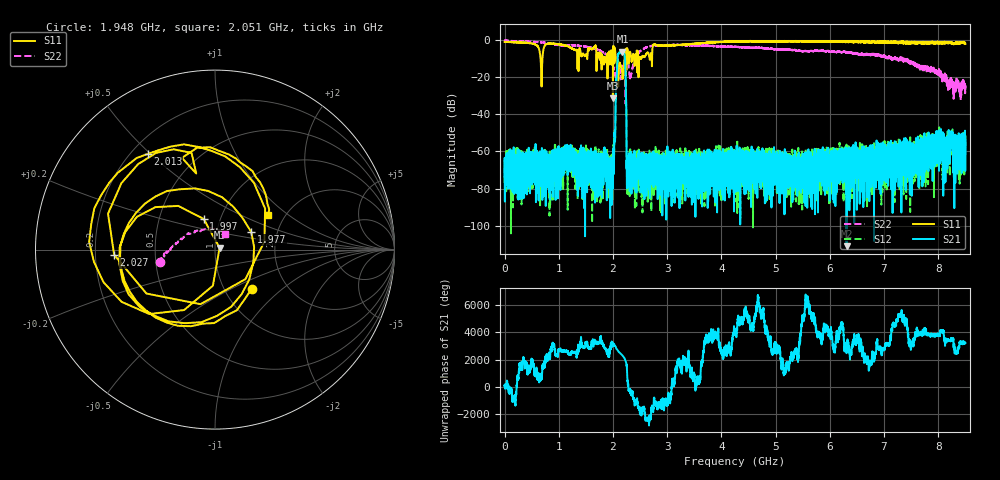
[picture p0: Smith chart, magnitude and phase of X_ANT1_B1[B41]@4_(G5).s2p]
#  HZ  S  RI  R  50.00
! Rohde & Schwarz Vector Network Analyzer
! Rohde-Schwarz,ZNBT8-20Port,1318700624101681,3.50
! Created: UTC 7/15/2025, 2:11:47 PM
! freq[Hz]  re:S1010  im:S1010  re:S0410  im:S0410  re:S1004  im:S1004  re:S44  im:S44
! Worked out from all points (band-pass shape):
!   8500 points, 1 MHz to 8.5 GHz, reference 50 ohm
!   highest |S21| = -6.11 dB at 2.175 GHz (marker M1); lowest = -111.1 dB at 6.308 GHz (marker M2)
!   |S21| within 3 dB of the highest: 2.086 GHz to 2.219 GHz (133 MHz wide, 6.18 % of centre)
!   lowest |S11| = -31.2 dB at 1.998 GHz (marker M3), VSWR 1.06, Z = 52.6 + j1.05 ohm
!   |S11| at or under -10 dB: 663.9 MHz to 698.6 MHz (34.69 MHz wide, 5.09 % of centre); 2.06 GHz to 2.214 GHz (154.1 MHz wide, 7.21 % of centre); 2.389 GHz to 2.408 GHz (19.02 MHz wide, 0.793 % of centre)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
!   |S22| runs from -34.3 to -0.1 dB; largest |S21 - S12| = 0.017
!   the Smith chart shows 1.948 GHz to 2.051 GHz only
!   S11 on the Smith chart (normalised r, x): 1.948 GHz: 1.34, -0.64; 1.977 GHz: 1.47, +0.30; 1.997 GHz: 0.83, +0.29; 2.013 GHz: 0.26, +0.49; 2.027 GHz: 0.28, -0.02; 2.051 GHz: 1.65, +0.72
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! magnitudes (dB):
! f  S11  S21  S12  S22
! 1 MHz  -0.9  -73.6  -77.0  -0.3
! 163 MHz  -1.1  -62.2  -67.0  -0.4
! 676 MHz  -17.9  -67.4  -68.3  -1.1
! 807 MHz  -1.8  -65.0  -66.2  -1.5
! 1.418 GHz  -8.4  -60.8  -70.0  -3.2
! 1.948 GHz  -10.5  -95.9  -72.6  -10.1
! 1.977 GHz  -13.0  -88.9  -61.6  -11.9
! 1.997 GHz  -14.8  -72.8  -69.4  -13.5
! 1.998 GHz  -31.2  -72.2  -71.9  -13.5
! 2.013 GHz  -3.7  -66.4  -66.6  -14.9
! 2.027 GHz  -5.0  -50.0  -49.5  -16.4
! 2.051 GHz  -9.1  -30.3  -30.4  -19.8
! 2.095 GHz  -23.6  -7.4  -7.4  -14.1
! 2.175 GHz  -20.2  -6.1  -6.2  -13.3
! 2.206 GHz  -13.4  -6.9  -6.8  -13.8
! 2.293 GHz  -10.2  -61.0  -66.7  -15.2
! 2.834 GHz  -2.8  -70.1  -60.9  -2.8
! 4.251 GHz  -0.6  -75.8  -65.5  -3.5
! 5.667 GHz  -0.4  -63.6  -60.8  -5.6
! 6.308 GHz  -0.9  -111.1  -56.3  -6.7
! 7.084 GHz  -0.8  -71.1  -67.3  -9.0
! 8.5 GHz  -1.9  -53.8  -51.3  -26.6
